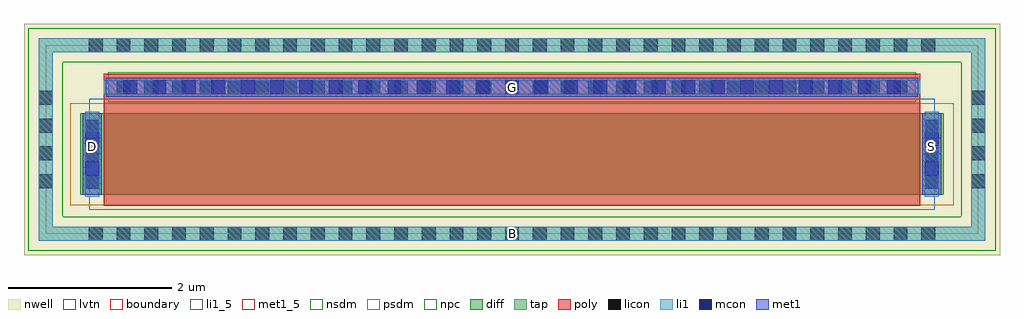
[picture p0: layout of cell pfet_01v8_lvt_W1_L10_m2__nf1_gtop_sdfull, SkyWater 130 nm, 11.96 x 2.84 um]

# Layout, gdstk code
import gdstk
lib = gdstk.Library(unit=1e-6, precision=1e-09)
def R(c, l, rs):  # rectangles x0, y0, x1, y1
    for r in rs: c.add(gdstk.rectangle(r[:2], r[2:], *l))
def A(c, l, x, y, w, h, nx, ny, dx, dy):  # array of equal rectangles
    R(c, l, [(x+i*dx, y+j*dy, x+i*dx+w, y+j*dy+h) for i in range(nx) for j in range(ny)])
nwell = (64, 20)
diff = (65, 20)
tap = (65, 44)
poly = (66, 20)
licon = (66, 44)
li1_5 = (67, 5)
li1 = (67, 20)
mcon = (67, 44)
met1_5 = (68, 5)
met1 = (68, 20)
nsdm = (93, 44)
psdm = (94, 20)
npc = (95, 20)
lvtn = (125, 44)
boundary = (235, 4)

sky130_fd_pr__pfet_01v8_ = lib.new_cell('sky130_fd_pr__pfet_01v8_lvt_7A8T6E')
R(sky130_fd_pr__pfet_01v8_, nwell, [(-5.98,-1.42,5.98,1.42)])
R(sky130_fd_pr__pfet_01v8_, diff, [(-5.29,-0.68,5.29,0.32)])
R(sky130_fd_pr__pfet_01v8_, tap, [(-5.8,-1.24,5.8,-1.07), (-5.8,-1.07,-5.63,1.07), (5.63,-1.07,5.8,1.07), (-5.8,1.07,5.8,1.24)])
R(sky130_fd_pr__pfet_01v8_, poly, [(-5,-0.81,5,0.805)])
A(sky130_fd_pr__pfet_01v8_, licon, -5.185, -1.24, 0.17, 0.17, 31, 2, 0.34, 2.31)
A(sky130_fd_pr__pfet_01v8_, licon, -5.23, -0.605, 0.17, 0.17, 1, 3, 0, 0.34)
A(sky130_fd_pr__pfet_01v8_, licon, 5.06, -0.605, 0.17, 0.17, 1, 3, 0, 0.34)
A(sky130_fd_pr__pfet_01v8_, licon, -5.8, -0.595, 0.17, 0.17, 1, 4, 0, 0.34)
A(sky130_fd_pr__pfet_01v8_, licon, 5.63, -0.595, 0.17, 0.17, 1, 4, 0, 0.34)
A(sky130_fd_pr__pfet_01v8_, licon, -4.845, 0.555, 0.17, 0.17, 29, 1, 0.34, 0)
R(sky130_fd_pr__pfet_01v8_, li1, [(-5.8,-1.24,5.8,-1.07), (-5.8,-1.07,-5.63,1.07), (5.63,-1.07,5.8,1.07), (-5.23,-0.7,-5.06,0.34), (5.06,-0.7,5.23,0.34), (-5,0.555,5,0.725), (-5.8,1.07,5.8,1.24)])
A(sky130_fd_pr__pfet_01v8_, mcon, -4.765, 0.555, 0.17, 0.17, 27, 1, 0.36, 0)
R(sky130_fd_pr__pfet_01v8_, mcon, [(-5.23,-0.445,-5.06,-0.275), (5.06,-0.445,5.23,-0.275), (-5.23,-0.085,-5.06,0.085), (5.06,-0.085,5.23,0.085)])
R(sky130_fd_pr__pfet_01v8_, met1, [(-5.26,-0.68,-5.03,0.32), (5.03,-0.68,5.26,0.32), (-4.98,0.525,4.98,0.755)])
R(sky130_fd_pr__pfet_01v8_, nsdm, [(-5.925,-1.365,5.925,-0.945), (-5.925,-0.945,-5.505,0.945), (5.505,-0.945,5.925,0.945), (-5.925,0.945,5.925,1.365)])
R(sky130_fd_pr__pfet_01v8_, psdm, [(-5.415,-0.805,5.415,0.445)])
R(sky130_fd_pr__pfet_01v8_, npc, [(-4.945,0.455,4.945,0.825)])
R(sky130_fd_pr__pfet_01v8_, lvtn, [(-5.18,-0.86,5.18,0.5)])
R(sky130_fd_pr__pfet_01v8_, boundary, [(-5.715,-1.155,5.715,1.155)])
sky130_fd_pr__pfet_01v8_.add(gdstk.Label('B', (0,-1.155), layer=67, texttype=5))
sky130_fd_pr__pfet_01v8_.add(gdstk.Label('D', (-5.145,-0.18), layer=67, texttype=5))
sky130_fd_pr__pfet_01v8_.add(gdstk.Label('S', (5.145,-0.18), layer=67, texttype=5))
sky130_fd_pr__pfet_01v8_.add(gdstk.Label('G', (0,0.64), layer=67, texttype=5))

pfet_01v8_lvt_w1_l10_m2_ = lib.new_cell('pfet_01v8_lvt_W1_L10_m2__nf1_gtop_sdfull')
R(pfet_01v8_lvt_w1_l10_m2_, li1_5, [(5.63,-0.085,5.8,0.085)])
R(pfet_01v8_lvt_w1_l10_m2_, li1, [(5.63,-0.085,5.8,0.085)])
R(pfet_01v8_lvt_w1_l10_m2_, met1_5, [(0.455,0.975,0.685,1.175), (10.745,0.975,10.975,1.175), (0.735,1.68,10.695,1.91)])
R(pfet_01v8_lvt_w1_l10_m2_, met1, [(0.455,0.975,0.685,1.175), (10.745,0.975,10.975,1.175), (0.735,1.68,10.695,1.91)])
pfet_01v8_lvt_w1_l10_m2_.add(gdstk.Reference(sky130_fd_pr__pfet_01v8_, (5.715,1.155)))
pfet_01v8_lvt_w1_l10_m2_.add(gdstk.Label('D', (0.57,1.075), layer=68, texttype=5))
pfet_01v8_lvt_w1_l10_m2_.add(gdstk.Label('S', (10.86,1.075), layer=68, texttype=5))
pfet_01v8_lvt_w1_l10_m2_.add(gdstk.Label('G', (5.715,1.795), layer=68, texttype=5))
pfet_01v8_lvt_w1_l10_m2_.add(gdstk.Label('B', (5.715,0), layer=67, texttype=5))

lib.write_gds('pfet_01v8_lvt_W1_L10_m2__nf1_gtop_sdfull.gds')
